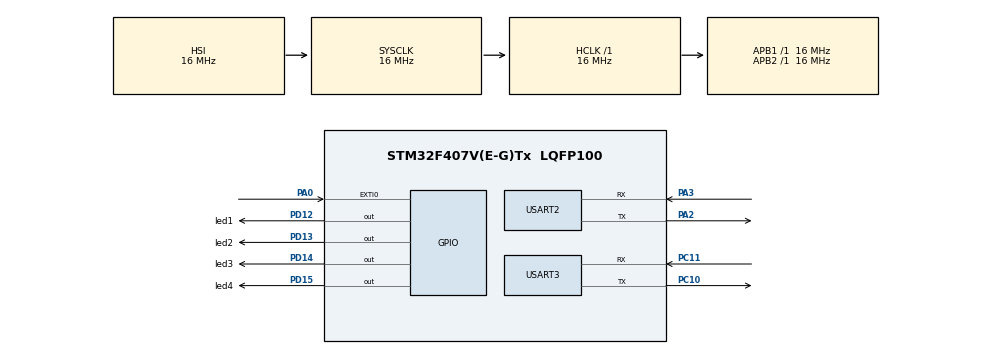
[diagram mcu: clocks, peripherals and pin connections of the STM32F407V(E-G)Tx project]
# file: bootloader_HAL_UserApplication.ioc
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Mcu.Family=STM32F4
Mcu.Name=STM32F407V(E-G)Tx
Mcu.Package=LQFP100
NVIC.EXTI0_IRQn=true\:0\:0\:false\:false\:true\:true\:true\:true
NVIC.PriorityGroup=NVIC_PRIORITYGROUP_4
PA0-WKUP.Signal=GPXTI0
PA2.Mode=Asynchronous
PA2.Signal=USART2_TX
PA3.Mode=Asynchronous
PA3.Signal=USART2_RX
PC10.Mode=Asynchronous
PC10.Signal=USART3_TX
PC11.Mode=Asynchronous
PC11.Signal=USART3_RX
PD12.GPIO_Label=led1
PD12.Signal=GPIO_Output
PD13.GPIO_Label=led2
PD13.Signal=GPIO_Output
PD14.GPIO_Label=led3
PD14.Signal=GPIO_Output
PD15.GPIO_Label=led4
PD15.Signal=GPIO_Output
ProjectManager.HeapSize=0x200
ProjectManager.StackSize=0x400
ProjectManager.TargetToolchain=STM32CubeIDE
RCC.AHBFreq_Value=16000000
RCC.APB1Freq_Value=16000000
RCC.APB2Freq_Value=16000000
RCC.CortexFreq_Value=16000000
RCC.HSE_VALUE=25000000
RCC.HSI_VALUE=16000000
RCC.LSE_VALUE=32768
RCC.SYSCLKFreq_VALUE=16000000
RCC.VCOOutputFreq_Value=192000000
USART2.VirtualMode=VM_ASYNC
USART3.VirtualMode=VM_ASYNC
VP_CRC_VS_CRC.Mode=CRC_Activate
board=custom

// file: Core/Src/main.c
/* USER CODE BEGIN Header */
/**
  ******************************************************************************
  * @file           : main.c
  * @brief          : Main program body
  ******************************************************************************
  * @attention
  *
  * Copyright (c) 2022 STMicroelectronics.
  * All rights reserved.
  *
  * This software is licensed under terms that can be found in the LICENSE file
  * in the root directory of this software component.
  * If no LICENSE file comes with this software, it is provided AS-IS.
  *
  ******************************************************************************
  */
/* USER CODE END Header */
#include "main.h"

/* USER CODE BEGIN Includes */
#include "string.h"
#include "stdio.h"
#include "stdarg.h"
/* USER CODE END Includes */

 CRC_HandleTypeDef hcrc;

UART_HandleTypeDef huart2;
UART_HandleTypeDef huart3;

void SystemClock_Config(void);
static void MX_GPIO_Init(void);
static void MX_CRC_Init(void);
static void MX_USART2_UART_Init(void);
static void MX_USART3_UART_Init(void);
/* USER CODE BEGIN PFP */

void printMessages(char *format, ...);
/* USER CODE END PFP */

/* USER CODE BEGIN 0 */
void printMessages(char *format, ...)
{
	char comingMessage[100];

	va_list vaList;
	va_start(vaList, format);
	vsprintf(comingMessage, format, vaList);
	HAL_UART_Transmit(&huart2, (uint8_t*)comingMessage, strlen(comingMessage), 100);
	va_end(vaList);
}

void HAL_GPIO_EXTI_Callback(uint16_t GPIO_Pin)
{
	if(GPIO_Pin == GPIO_PIN_0)
	{

	}
}

/* USER CODE END 0 */

int main(void)
{

  /* MCU Configuration--------------------------------------------------------*/

  /* Reset of all peripherals, Initializes the Flash interface and the Systick. */
  HAL_Init();

  /* Configure the system clock */
  SystemClock_Config();

  /* Initialize all configured peripherals */
  MX_GPIO_Init();
  MX_CRC_Init();
  MX_USART2_UART_Init();
  MX_USART3_UART_Init();

  /* Infinite loop */
  /* USER CODE BEGIN WHILE */
  while (1)
  {
	  HAL_GPIO_TogglePin(led1_GPIO_Port, led1_Pin);
	  HAL_GPIO_TogglePin(led2_GPIO_Port, led2_Pin);
	  HAL_GPIO_TogglePin(led3_GPIO_Port, led3_Pin);
	  HAL_GPIO_TogglePin(led4_GPIO_Port, led4_Pin);
	  printMessages("BL USER APP MSG: Hello from the bootloader User Application\r\n");
	  HAL_Delay(100);
    /* USER CODE END WHILE */

  }
}

void SystemClock_Config(void)
{
  RCC_OscInitTypeDef RCC_OscInitStruct = {0};
  RCC_ClkInitTypeDef RCC_ClkInitStruct = {0};

  /** Configure the main internal regulator output voltage
  */
  __HAL_RCC_PWR_CLK_ENABLE();
  __HAL_PWR_VOLTAGESCALING_CONFIG(PWR_REGULATOR_VOLTAGE_SCALE1);

  /** Initializes the RCC Oscillators according to the specified parameters
  * in the RCC_OscInitTypeDef structure.
  */
  RCC_OscInitStruct.OscillatorType = RCC_OSCILLATORTYPE_HSI;
  RCC_OscInitStruct.HSIState = RCC_HSI_ON;
  RCC_OscInitStruct.HSICalibrationValue = RCC_HSICALIBRATION_DEFAULT;
  RCC_OscInitStruct.PLL.PLLState = RCC_PLL_NONE;
  if (HAL_RCC_OscConfig(&RCC_OscInitStruct) != HAL_OK)
  {
    Error_Handler();
  }

  /** Initializes the CPU, AHB and APB buses clocks
  */
  RCC_ClkInitStruct.ClockType = RCC_CLOCKTYPE_HCLK|RCC_CLOCKTYPE_SYSCLK
                              |RCC_CLOCKTYPE_PCLK1|RCC_CLOCKTYPE_PCLK2;
  RCC_ClkInitStruct.SYSCLKSource = RCC_SYSCLKSOURCE_HSI;
  RCC_ClkInitStruct.AHBCLKDivider = RCC_SYSCLK_DIV1;
  RCC_ClkInitStruct.APB1CLKDivider = RCC_HCLK_DIV1;
  RCC_ClkInitStruct.APB2CLKDivider = RCC_HCLK_DIV1;

  if (HAL_RCC_ClockConfig(&RCC_ClkInitStruct, FLASH_LATENCY_0) != HAL_OK)
  {
    Error_Handler();
  }
}

static void MX_CRC_Init(void)
{

  hcrc.Instance = CRC;
  if (HAL_CRC_Init(&hcrc) != HAL_OK)
  {
    Error_Handler();
  }

}

static void MX_USART2_UART_Init(void)
{

  huart2.Instance = USART2;
  huart2.Init.BaudRate = 115200;
  huart2.Init.WordLength = UART_WORDLENGTH_8B;
  huart2.Init.StopBits = UART_STOPBITS_1;
  huart2.Init.Parity = UART_PARITY_NONE;
  huart2.Init.Mode = UART_MODE_TX_RX;
  huart2.Init.HwFlowCtl = UART_HWCONTROL_NONE;
  huart2.Init.OverSampling = UART_OVERSAMPLING_16;
  if (HAL_UART_Init(&huart2) != HAL_OK)
  {
    Error_Handler();
  }

}

static void MX_USART3_UART_Init(void)
{

  huart3.Instance = USART3;
  huart3.Init.BaudRate = 115200;
  huart3.Init.WordLength = UART_WORDLENGTH_8B;
  huart3.Init.StopBits = UART_STOPBITS_1;
  huart3.Init.Parity = UART_PARITY_NONE;
  huart3.Init.Mode = UART_MODE_TX_RX;
  huart3.Init.HwFlowCtl = UART_HWCONTROL_NONE;
  huart3.Init.OverSampling = UART_OVERSAMPLING_16;
  if (HAL_UART_Init(&huart3) != HAL_OK)
  {
    Error_Handler();
  }

}

static void MX_GPIO_Init(void)
{
  GPIO_InitTypeDef GPIO_InitStruct = {0};

  /* GPIO Ports Clock Enable */
  __HAL_RCC_GPIOA_CLK_ENABLE();
  __HAL_RCC_GPIOD_CLK_ENABLE();
  __HAL_RCC_GPIOC_CLK_ENABLE();

  /*Configure GPIO pin Output Level */
  HAL_GPIO_WritePin(GPIOD, led1_Pin|led2_Pin|led3_Pin|led4_Pin, GPIO_PIN_RESET);

  /*Configure GPIO pin : PA0 */
  GPIO_InitStruct.Pin = GPIO_PIN_0;
  GPIO_InitStruct.Mode = GPIO_MODE_IT_RISING;
  GPIO_InitStruct.Pull = GPIO_NOPULL;
  HAL_GPIO_Init(GPIOA, &GPIO_InitStruct);

  /*Configure GPIO pins : led1_Pin led2_Pin led3_Pin led4_Pin */
  GPIO_InitStruct.Pin = led1_Pin|led2_Pin|led3_Pin|led4_Pin;
  GPIO_InitStruct.Mode = GPIO_MODE_OUTPUT_PP;
  GPIO_InitStruct.Pull = GPIO_NOPULL;
  GPIO_InitStruct.Speed = GPIO_SPEED_FREQ_LOW;
  HAL_GPIO_Init(GPIOD, &GPIO_InitStruct);

  /* EXTI interrupt init*/
  HAL_NVIC_SetPriority(EXTI0_IRQn, 0, 0);
  HAL_NVIC_EnableIRQ(EXTI0_IRQn);

}

void Error_Handler(void)
{
  __disable_irq();
  while (1)
  {
  }
}
